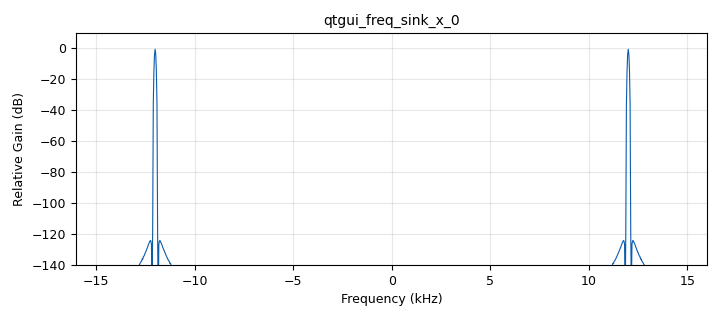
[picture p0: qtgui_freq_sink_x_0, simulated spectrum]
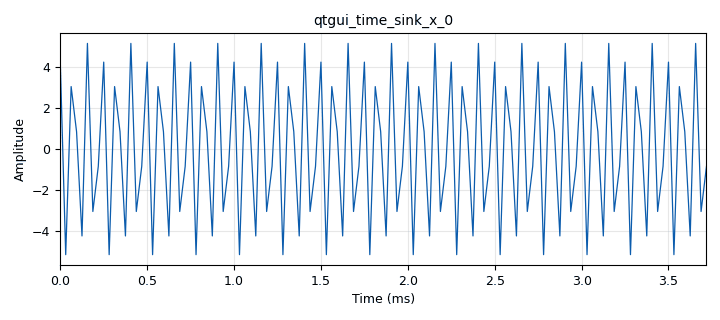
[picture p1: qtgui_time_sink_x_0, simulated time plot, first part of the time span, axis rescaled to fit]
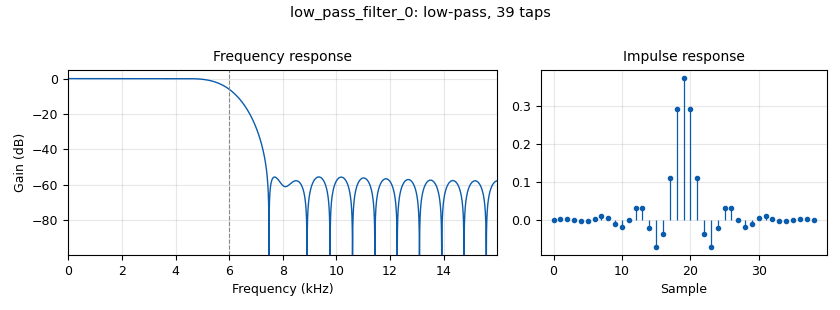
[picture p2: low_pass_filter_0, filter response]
options:
  parameters:
    generate_options: qt_gui
    id: dsbsc_modulation
    output_language: python
    title: Not titled yet
  states: {}

blocks:
- name: fc
  id: variable_qtgui_range
  parameters:
    start: '1000'
    step: '1000'
    stop: '100000'
    value: '100000'
  states: {}
- name: fm
  id: variable_qtgui_range
  parameters:
    start: '100'
    step: '100'
    stop: '1000'
    value: '1000'
  states: {}
- name: samp_rate
  id: variable
  parameters:
    value: '32000'
  states: {}
- name: analog_sig_source_x_0
  id: analog_sig_source_x
  parameters:
    amp: '1'
    freq: fm
    offset: '0'
    phase: '0'
    samp_rate: samp_rate
    type: float
    waveform: analog.GR_COS_WAVE
  states: {}
- name: analog_sig_source_x_1
  id: analog_sig_source_x
  parameters:
    amp: '1'
    freq: fc
    offset: '0'
    phase: '0'
    samp_rate: samp_rate
    type: float
    waveform: analog.GR_COS_WAVE
  states: {}
- name: audio_sink_0
  id: audio_sink
  parameters:
    samp_rate: samp_rate
  states: {}
- name: blocks_multiply_const_vxx_0
  id: blocks_multiply_const_vxx
  parameters:
    const: '10'
    type: float
  states: {}
- name: blocks_multiply_xx_0
  id: blocks_multiply_xx
  parameters:
    type: float
  states: {}
- name: blocks_throttle2_0
  id: blocks_throttle2
  parameters:
    samples_per_second: samp_rate
    type: float
  states: {}
- name: low_pass_filter_0
  id: low_pass_filter
  parameters:
    cutoff_freq: '6000'
    decim: '4'
    gain: '1'
    samp_rate: samp_rate
    type: fir_filter_fff
    width: '2000'
    win: window.WIN_HAMMING
  states: {}
- name: qtgui_freq_sink_x_0
  id: qtgui_freq_sink_x
  parameters:
    bw: samp_rate
    fc: '0'
    fftsize: '1024'
    type: float
  states: {}
- name: qtgui_time_sink_x_0
  id: qtgui_time_sink_x
  parameters:
    size: '1024'
    srate: samp_rate
    type: float
  states: {}

connections:
- [analog_sig_source_x_0, '0', blocks_multiply_xx_0, '0']
- [analog_sig_source_x_1, '0', blocks_multiply_xx_0, '1']
- [blocks_multiply_const_vxx_0, '0', audio_sink_0, '0']
- [blocks_multiply_const_vxx_0, '0', qtgui_freq_sink_x_0, '0']
- [blocks_multiply_const_vxx_0, '0', qtgui_time_sink_x_0, '0']
- [blocks_multiply_xx_0, '0', low_pass_filter_0, '0']
- [blocks_throttle2_0, '0', blocks_multiply_const_vxx_0, '0']
- [low_pass_filter_0, '0', blocks_throttle2_0, '0']

metadata:
  file_format: 1
  grc_version: 3.10.9.2
